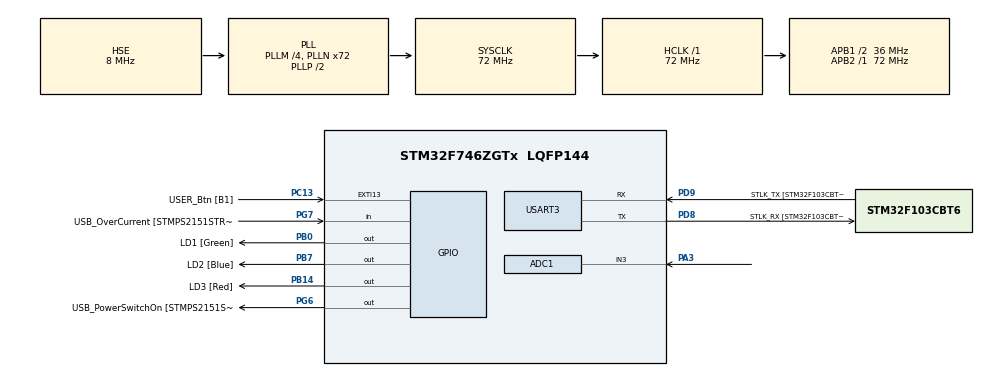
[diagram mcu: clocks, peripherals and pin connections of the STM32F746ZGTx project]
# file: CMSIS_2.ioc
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ADC1.Channel-2\#ChannelRegularConversion=ADC_CHANNEL_3
ADC1.NbrOfConversionFlag=1
ADC1.Rank-2\#ChannelRegularConversion=1
ADC1.SamplingTime-2\#ChannelRegularConversion=ADC_SAMPLETIME_3CYCLES
ADC1.master=1
ARM.CMSIS.5.7.0.CMSISJjCORE=true
ARM.CMSIS.5.7.0.CMSISJjDSP=Library
Mcu.Family=STM32F7
Mcu.Name=STM32F746ZGTx
Mcu.Package=LQFP144
NVIC.ADC_IRQn=true\:0\:0\:false\:false\:true\:true\:true\:true
NVIC.PriorityGroup=NVIC_PRIORITYGROUP_4
NVIC.TIM4_IRQn=true\:0\:0\:false\:false\:true\:true\:true\:true
PA1.GPIO_Label=RMII_REF_CLK [LAN8742A-CZ-TR_REFCLK0]
PA1.Signal=ETH_REF_CLK
PA10.GPIO_Label=USB_ID
PA10.Signal=USB_OTG_FS_ID
PA11.GPIO_Label=USB_DM
PA11.Signal=USB_OTG_FS_DM
PA12.GPIO_Label=USB_DP
PA12.Signal=USB_OTG_FS_DP
PA13.GPIO_Label=TMS
PA13.Mode=Serial_Wire
PA13.Signal=SYS_JTMS-SWDIO
PA14.GPIO_Label=TCK
PA14.Mode=Serial_Wire
PA14.Signal=SYS_JTCK-SWCLK
PA2.GPIO_Label=RMII_MDIO [LAN8742A-CZ-TR_MDIO]
PA2.Signal=ETH_MDIO
PA3.Signal=ADCx_IN3
PA7.GPIO_Label=RMII_CRS_DV [LAN8742A-CZ-TR_CRS_DV]
PA7.Signal=ETH_CRS_DV
PA8.GPIO_Label=USB_SOF [TP1]
PA8.Signal=USB_OTG_FS_SOF
PA9.GPIO_Label=USB_VBUS
PA9.Signal=USB_OTG_FS_VBUS
PB0.GPIO_Label=LD1 [Green]
PB0.Signal=GPIO_Output
PB13.GPIO_Label=RMII_TXD1 [LAN8742A-CZ-TR_TXD1]
PB13.Signal=ETH_TXD1
PB14.GPIO_Label=LD3 [Red]
PB14.Signal=GPIO_Output
PB3.GPIO_Label=SW0
PB3.Signal=SYS_JTDO-SWO
PB7.GPIO_Label=LD2 [Blue]
PB7.Signal=GPIO_Output
PC1.GPIO_Label=RMII_MDC [LAN8742A-CZ-TR_MDC]
PC1.Signal=ETH_MDC
PC13.GPIO_Label=USER_Btn [B1]
PC13.Signal=GPXTI13
PC14/OSC32_IN.Mode=LSE-External-Oscillator
PC14/OSC32_IN.Signal=RCC_OSC32_IN
PC15/OSC32_OUT.Mode=LSE-External-Oscillator
PC15/OSC32_OUT.Signal=RCC_OSC32_OUT
PC4.GPIO_Label=RMII_RXD0 [LAN8742A-CZ-TR_RXD0]
PC4.Signal=ETH_RXD0
PC5.GPIO_Label=RMII_RXD1 [LAN8742A-CZ-TR_RXD1]
PC5.Signal=ETH_RXD1
PD8.GPIO_Label=STLK_RX [STM32F103CBT6_PA3]
PD8.Mode=Asynchronous
PD8.Signal=USART3_TX
PD9.GPIO_Label=STLK_TX [STM32F103CBT6_PA2]
PD9.Mode=Asynchronous
PD9.Signal=USART3_RX
PG11.GPIO_Label=RMII_TX_EN [LAN8742A-CZ-TR_TXEN]
PG11.Signal=ETH_TX_EN
PG13.GPIO_Label=RMII_TXD0 [LAN8742A-CZ-TR_TXD0]
PG13.Signal=ETH_TXD0
PG6.GPIO_Label=USB_PowerSwitchOn [STMPS2151STR_EN]
PG6.Signal=GPIO_Output
PG7.GPIO_Label=USB_OverCurrent [STMPS2151STR_FAULT]
PG7.Signal=GPIO_Input
PH0/OSC_IN.GPIO_Label=MCO [STM32F103CBT6_PA8]
PH0/OSC_IN.Mode=HSE-External-Clock-Source
PH0/OSC_IN.Signal=RCC_OSC_IN
PH1/OSC_OUT.Mode=HSE-External-Clock-Source
PH1/OSC_OUT.Signal=RCC_OSC_OUT
ProjectManager.HeapSize=0x200
ProjectManager.StackSize=0x400
ProjectManager.TargetToolchain=STM32CubeIDE
RCC.48MHZClocksFreq_Value=24000000
RCC.AHBFreq_Value=72000000
RCC.APB1CLKDivider=RCC_HCLK_DIV2
RCC.APB1Freq_Value=36000000
RCC.APB1TimFreq_Value=72000000
RCC.APB2Freq_Value=72000000
RCC.APB2TimFreq_Value=72000000
RCC.CortexFreq_Value=72000000
RCC.HCLKFreq_Value=72000000
RCC.HSE_VALUE=8000000
RCC.HSI_VALUE=16000000
RCC.PLLM=4
RCC.PLLMUL=RCC_PLL_MUL9
RCC.PLLN=72
RCC.PLLQ=3
RCC.PLLSourceVirtual=RCC_PLLSOURCE_HSE
RCC.PRESCALERUSB=RCC_USBCLKSOURCE_PLL_DIV1_5
RCC.SYSCLKFreq_VALUE=72000000
RCC.SYSCLKSource=RCC_SYSCLKSOURCE_PLLCLK
RCC.SYSCLKSourceVirtual=RCC_SYSCLKSOURCE_PLLCLK
RCC.USBFreq_Value=48000000
RCC.VCOOutputFreq_Value=144000000
SH.ADCx_IN3.0=ADC1_IN3,IN3
TIM4.Period=9999
TIM4.Prescaler=71
USART3.VirtualMode-Asynchronous=VM_ASYNC
VP_ARM.CMSIS_VS_CMSISJjCORE_5.4.0_5.7.0.Mode=CMSISJjCORE
VP_ARM.CMSIS_VS_CMSISJjDSP_1.8.0_5.7.0.Mode=CMSISJjDSP
VP_TIM4_VS_ClockSourceINT.Mode=Internal
board=NUCLEO-F746ZG

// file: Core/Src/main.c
/* USER CODE BEGIN Header */
/**
  ******************************************************************************
  * @file           : main.c
  * @brief          : Main program body
  ******************************************************************************
  * @attention
  *
  * Copyright (c) 2023 STMicroelectronics.
  * All rights reserved.
  *
  * This software is licensed under terms that can be found in the LICENSE file
  * in the root directory of this software component.
  * If no LICENSE file comes with this software, it is provided AS-IS.
  *
  ******************************************************************************
  */
/* USER CODE END Header */
#include "main.h"
#include "adc.h"
#include "tim.h"
#include "usart.h"
#include "gpio.h"

/* USER CODE BEGIN Includes */
#include "arm_math.h"
#include "IIR1_biquad_df1.h"
/* USER CODE END Includes */

/* USER CODE BEGIN PV */
float unfiltered = 0;
int unfiltered_SWV = 0;
float filtered = 0;
int filtered_SWV = 0;
/* USER CODE END PV */

void SystemClock_Config(void);

/* USER CODE BEGIN 0 */
void HAL_TIM_PeriodElapsedCallback(TIM_HandleTypeDef *htim)
{
  if(htim == &htim4)
  {
    HAL_GPIO_TogglePin(GPIOB,GPIO_PIN_7);
    HAL_ADC_Start_IT(&hadc1);
    if (HAL_ADC_PollForConversion(&hadc1, 10) == HAL_OK)
          {
            unfiltered = (3.3f * HAL_ADC_GetValue(&hadc1))/4096;
            arm_biquad_cascade_df1_f32(&IIR1, &unfiltered, &filtered, 1);
          }
    unfiltered_SWV = unfiltered*1000;
    filtered_SWV = filtered*1000;
  }
}
/* USER CODE END 0 */

int main(void)
{

  /* MCU Configuration--------------------------------------------------------*/

  /* Reset of all peripherals, Initializes the Flash interface and the Systick. */
  HAL_Init();

  /* Configure the system clock */
  SystemClock_Config();

  /* Initialize all configured peripherals */
  MX_GPIO_Init();
  MX_USART3_UART_Init();
  MX_ADC1_Init();
  MX_TIM4_Init();
  /* USER CODE BEGIN 2 */
  //RunAllTests();
  arm_biquad_cascade_df1_init_f32(&IIR1, IIR1_NUM_STAGES, IIR1_COEFFS, IIR1_STATE);
  HAL_TIM_Base_Start_IT(&htim4);
  /* USER CODE END 2 */

  /* Infinite loop */
  while (1)
  {

  }
}

void SystemClock_Config(void)
{
  RCC_OscInitTypeDef RCC_OscInitStruct = {0};
  RCC_ClkInitTypeDef RCC_ClkInitStruct = {0};

  /** Configure LSE Drive Capability
  */
  HAL_PWR_EnableBkUpAccess();

  /** Configure the main internal regulator output voltage
  */
  __HAL_RCC_PWR_CLK_ENABLE();
  __HAL_PWR_VOLTAGESCALING_CONFIG(PWR_REGULATOR_VOLTAGE_SCALE3);

  /** Initializes the RCC Oscillators according to the specified parameters
  * in the RCC_OscInitTypeDef structure.
  */
  RCC_OscInitStruct.OscillatorType = RCC_OSCILLATORTYPE_HSE;
  RCC_OscInitStruct.HSEState = RCC_HSE_BYPASS;
  RCC_OscInitStruct.PLL.PLLState = RCC_PLL_ON;
  RCC_OscInitStruct.PLL.PLLSource = RCC_PLLSOURCE_HSE;
  RCC_OscInitStruct.PLL.PLLM = 4;
  RCC_OscInitStruct.PLL.PLLN = 72;
  RCC_OscInitStruct.PLL.PLLP = RCC_PLLP_DIV2;
  RCC_OscInitStruct.PLL.PLLQ = 3;
  if (HAL_RCC_OscConfig(&RCC_OscInitStruct) != HAL_OK)
  {
    Error_Handler();
  }

  /** Initializes the CPU, AHB and APB buses clocks
  */
  RCC_ClkInitStruct.ClockType = RCC_CLOCKTYPE_HCLK|RCC_CLOCKTYPE_SYSCLK
                              |RCC_CLOCKTYPE_PCLK1|RCC_CLOCKTYPE_PCLK2;
  RCC_ClkInitStruct.SYSCLKSource = RCC_SYSCLKSOURCE_PLLCLK;
  RCC_ClkInitStruct.AHBCLKDivider = RCC_SYSCLK_DIV1;
  RCC_ClkInitStruct.APB1CLKDivider = RCC_HCLK_DIV2;
  RCC_ClkInitStruct.APB2CLKDivider = RCC_HCLK_DIV1;

  if (HAL_RCC_ClockConfig(&RCC_ClkInitStruct, FLASH_LATENCY_2) != HAL_OK)
  {
    Error_Handler();
  }
}

void Error_Handler(void)
{
  __disable_irq();
  while (1)
  {
  }
}
